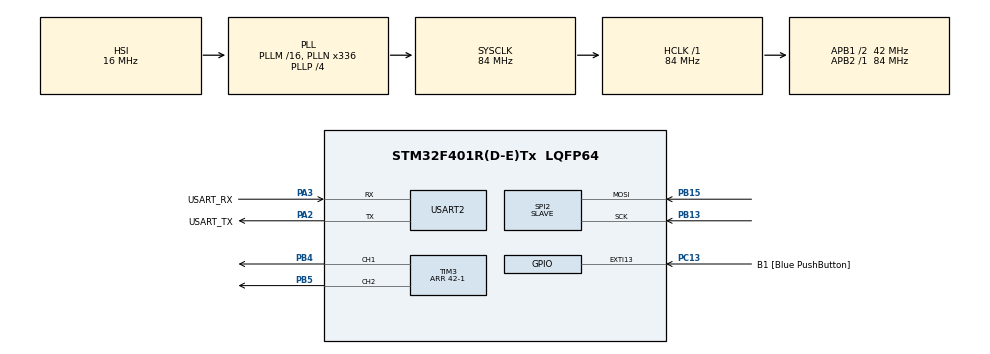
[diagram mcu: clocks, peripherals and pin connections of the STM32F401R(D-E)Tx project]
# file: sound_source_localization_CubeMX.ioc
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Dma.Request0=SPI2_RX
Dma.SPI2_RX.0.Direction=DMA_PERIPH_TO_MEMORY
Dma.SPI2_RX.0.FIFOMode=DMA_FIFOMODE_DISABLE
Dma.SPI2_RX.0.Instance=DMA1_Stream3
Dma.SPI2_RX.0.MemDataAlignment=DMA_MDATAALIGN_BYTE
Dma.SPI2_RX.0.MemInc=DMA_MINC_ENABLE
Dma.SPI2_RX.0.Mode=DMA_CIRCULAR
Dma.SPI2_RX.0.PeriphDataAlignment=DMA_PDATAALIGN_BYTE
Dma.SPI2_RX.0.PeriphInc=DMA_PINC_DISABLE
Dma.SPI2_RX.0.Priority=DMA_PRIORITY_VERY_HIGH
Mcu.Family=STM32F4
Mcu.Name=STM32F401R(D-E)Tx
Mcu.Package=LQFP64
NVIC.DMA1_Stream3_IRQn=true\:0\:0\:false\:false\:true\:false\:true\:true
NVIC.EXTI15_10_IRQn=true\:0\:0\:false\:false\:true\:true\:true\:true
NVIC.PriorityGroup=NVIC_PRIORITYGROUP_0
PA13.GPIO_Label=TMS
PA13.Mode=Serial_Wire
PA13.Signal=SYS_JTMS-SWDIO
PA14.GPIO_Label=TCK
PA14.Mode=Serial_Wire
PA14.Signal=SYS_JTCK-SWCLK
PA2.GPIO_Label=USART_TX
PA2.GPIO_Mode=GPIO_MODE_AF_PP
PA2.GPIO_PuPd=GPIO_NOPULL
PA2.GPIO_Speed=GPIO_SPEED_FREQ_LOW
PA2.Mode=Asynchronous
PA2.Signal=USART2_TX
PA3.GPIO_Label=USART_RX
PA3.GPIO_Mode=GPIO_MODE_AF_PP
PA3.GPIO_PuPd=GPIO_NOPULL
PA3.GPIO_Speed=GPIO_SPEED_FREQ_LOW
PA3.Mode=Asynchronous
PA3.Signal=USART2_RX
PB13.Mode=RX_Only_Simplex_Unidirect_Slave
PB13.Signal=SPI2_SCK
PB15.Mode=RX_Only_Simplex_Unidirect_Slave
PB15.Signal=SPI2_MOSI
PB3.GPIO_Label=SWO
PB3.Signal=SYS_JTDO-SWO
PB4.Signal=S_TIM3_CH1
PB5.Signal=S_TIM3_CH2
PC13-ANTI_TAMP.GPIO_Label=B1 [Blue PushButton]
PC13-ANTI_TAMP.GPIO_ModeDefaultEXTI=GPIO_MODE_IT_FALLING
PC13-ANTI_TAMP.GPIO_PuPd=GPIO_NOPULL
PC13-ANTI_TAMP.Signal=GPXTI13
PC14-OSC32_IN.Mode=LSE-External-Oscillator
PC14-OSC32_IN.Signal=RCC_OSC32_IN
PC15-OSC32_OUT.Mode=LSE-External-Oscillator
PC15-OSC32_OUT.Signal=RCC_OSC32_OUT
PH0\ -\ OSC_IN.Mode=HSE-External-Clock-Source
PH0\ -\ OSC_IN.Signal=RCC_OSC_IN
PH1\ -\ OSC_OUT.Mode=HSE-External-Clock-Source
PH1\ -\ OSC_OUT.Signal=RCC_OSC_OUT
ProjectManager.HeapSize=0x200
ProjectManager.StackSize=0x400
ProjectManager.TargetToolchain=Makefile
RCC.48MHZClocksFreq_Value=48000000
RCC.AHBFreq_Value=84000000
RCC.APB1CLKDivider=RCC_HCLK_DIV2
RCC.APB1Freq_Value=42000000
RCC.APB1TimFreq_Value=84000000
RCC.APB2Freq_Value=84000000
RCC.APB2TimFreq_Value=84000000
RCC.CortexFreq_Value=84000000
RCC.HCLKFreq_Value=84000000
RCC.HSE_VALUE=8000000
RCC.HSI_VALUE=16000000
RCC.PLLN=336
RCC.PLLP=RCC_PLLP_DIV4
RCC.PLLQ=7
RCC.SYSCLKFreq_VALUE=84000000
RCC.SYSCLKSource=RCC_SYSCLKSOURCE_PLLCLK
RCC.VCOOutputFreq_Value=336000000
SH.S_TIM3_CH1.0=TIM3_CH1,PWM Generation1 CH1
SH.S_TIM3_CH2.0=TIM3_CH2,Output Compare2 CH2
SPI2.CLKPhase=SPI_PHASE_2EDGE
SPI2.DataSize=SPI_DATASIZE_8BIT
SPI2.Direction=SPI_DIRECTION_2LINES_RXONLY
SPI2.FirstBit=SPI_FIRSTBIT_MSB
SPI2.Mode=SPI_MODE_SLAVE
SPI2.VirtualType=VM_SLAVE
TIM3.Channel-Output\ Compare2\ CH2=TIM_CHANNEL_2
TIM3.Channel-PWM\ Generation1\ CH1=TIM_CHANNEL_1
TIM3.OCMode_2=TIM_OCMODE_TOGGLE
TIM3.Period=42-1
TIM3.Pulse-Output\ Compare2\ CH2=42-1
TIM3.Pulse-PWM\ Generation1\ CH1=21
USART2.VirtualMode=VM_ASYNC
VP_TIM3_VS_ClockSourceINT.Mode=Internal
board=NUCLEO-F401RE

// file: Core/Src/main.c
/* USER CODE BEGIN Header */
/**
  ******************************************************************************
  * @file           : main.c
  * @brief          : Main program body
  ******************************************************************************
  * @attention
  *
  * Copyright (c) 2022 STMicroelectronics.
  * All rights reserved.
  *
  * This software is licensed under terms that can be found in the LICENSE file
  * in the root directory of this software component.
  * If no LICENSE file comes with this software, it is provided AS-IS.
  *
  ******************************************************************************
  */
/* USER CODE END Header */
#include "main.h"

/* USER CODE BEGIN Includes */
#include <stdio.h>
#include <string.h>
#include <stdlib.h>
#include <math.h>
/* USER CODE END Includes */

/* USER CODE BEGIN PD */

// SPI buffer size
#define SPI_BUFFER_SIZE 128

// FIR filter taps
#define NUM_TAPS 225

// Decimation factor
#define DECIMATION_FACTOR 8

/* USER CODE END PD */

SPI_HandleTypeDef hspi2;
DMA_HandleTypeDef hdma_spi2_rx;

TIM_HandleTypeDef htim3;

UART_HandleTypeDef huart2;

/* USER CODE BEGIN PV */
/* Private variables ---------------------------------------------------------*/

// flag to indicate DMA transfer is complete
uint8_t SPI2_DMA_RX_Complete = 0;

// SPI buffer
uint8_t SPI_Buffer[SPI_BUFFER_SIZE] = {0};

// left and right buffers for each mic
uint8_t left_buffer[SPI_BUFFER_SIZE*4] = {0};
uint8_t right_buffer[SPI_BUFFER_SIZE*4] = {0};

// previous buffers values for FIR filter
int8_t left_buffer_prev[NUM_TAPS] = {0};
int8_t right_buffer_prev[NUM_TAPS] = {0};

// left and right buffers for each mic after filtering
float left_buffer_filtered[SPI_BUFFER_SIZE*4/DECIMATION_FACTOR];
float right_buffer_filtered[SPI_BUFFER_SIZE*4/DECIMATION_FACTOR];

// finger snap flag
uint8_t finger_snap_flag = 0;

/*
FIR filter designed with
http://t-filter.appspot.com

sampling frequency: 1000000 Hz

* 0 Hz - 8000 Hz
  gain = 1
  desired ripple = 1 dB
  actual ripple = 0.7299864365934536 dB

* 15625 Hz - 500000 Hz
  gain = 0
  desired attenuation = -40 dB
  actual attenuation = -40.258113782444845 dB

* NUM_TAPS = 225

*/

// INT8 FIR filter coefficients
/*
static uint8_t fir_coeff[NUM_TAPS] ={
  1,
  0,
  0,
  0,
  0,
  0,
  0,
  0,
  0,
  0,
  0,
  0,
  0,
  0,
  0,
  0,
  0,
  0,
  0,
  0,
  0,
  0,
  0,
  0,
  0,
  0,
  0,
  0,
  0,
  0,
  0,
  0,
  0,
  0,
  0,
  0,
  0,
  0,
  0,
  0,
  0,
  0,
  0,
  0,
  0,
  0,
  0,
  0,
  0,
  0,
  0,
  0,
  0,
  0,
  0,
  0,
  0,
  0,
  0,
  0,
  0,
  0,
  0,
  0,
  0,
  0,
  0,
  0,
  0,
  0,
  0,
  0,
  0,
  0,
  0,
  0,
  1,
  1,
  1,
  1,
  1,
  1,
  1,
  1,
  1,
  1,
  1,
  2,
  2,
  2,
  2,
  2,
  2,
  2,
  2,
  2,
  2,
  2,
  2,
  2,
  3,
  3,
  3,
  3,
  3,
  3,
  3,
  3,
  3,
  3,
  3,
  3,
  3,
  3,
  3,
  3,
  3,
  3,
  3,
  3,
  3,
  3,
  3,
  3,
  3,
  2,
  2,
  2,
  2,
  2,
  2,
  2,
  2,
  2,
  2,
  2,
  2,
  2,
  1,
  1,
  1,
  1,
  1,
  1,
  1,
  1,
  1,
  1,
  1,
  0,
  0,
  0,
  0,
  0,
  0,
  0,
  0,
  0,
  0,
  0,
  0,
  0,
  0,
  0,
  0,
  0,
  0,
  0,
  0,
  0,
  0,
  0,
  0,
  0,
  0,
  0,
  0,
  0,
  0,
  0,
  0,
  0,
  0,
  0,
  0,
  0,
  0,
  0,
  0,
  0,
  0,
  0,
  0,
  0,
  0,
  0,
  0,
  0,
  0,
  0,
  0,
  0,
  0,
  0,
  0,
  0,
  0,
  0,
  0,
  0,
  0,
  0,
  0,
  0,
  0,
  0,
  0,
  0,
  0,
  0,
  0,
  0,
  0,
  0,
  1
};
*/

// FLOAT FIR filter coefficients
static float fir_coeff[NUM_TAPS] = {
  0.005142840545276502,
  0.0005776119551103716,
  0.000603452635046104,
  0.0006258476939145514,
  0.0006434920183790002,
  0.0006568929308390448,
  0.0006652564505335804,
  0.0006678248280790667,
  0.00066467267376079,
  0.000655418362176927,
  0.0006394151288354629,
  0.00061641561843551,
  0.0005861893330172126,
  0.00054845108388333,
  0.0005030552758477393,
  0.0004497791706022509,
  0.00038837043045260365,
  0.0003187765940718276,
  0.00024099784089950783,
  0.00015498800550232237,
  0.000060778686176569876,
  -0.000041526854903904153,
  -0.00015177231816138268,
  -0.00026966421681820296,
  -0.0003948238278051311,
  -0.0005268935517652757,
  -0.0006654632374119981,
  -0.0008100272079632247,
  -0.0009600902246855826,
  -0.0011151062071835987,
  -0.0012743503438861145,
  -0.0014370203343255534,
  -0.0016022305922854731,
  -0.0017689590087946387,
  -0.001936352230518814,
  -0.002103685910167141,
  -0.0022699031624359507,
  -0.0024338297997767207,
  -0.0025943247232153126,
  -0.002749916347432099,
  -0.0028996072059222244,
  -0.0030430446211033493,
  -0.003178243182587049,
  -0.0033026617863639706,
  -0.0034178085358503208,
  -0.003520610576806379,
  -0.0036082671781069997,
  -0.003685179926599956,
  -0.003743320048133456,
  -0.0037841808549810047,
  -0.0038080482645113795,
  -0.0038127117750296428,
  -0.003796502219907655,
  -0.0037583913764318564,
  -0.003697341860647573,
  -0.003612766494578202,
  -0.003504156555145221,
  -0.003370606058748487,
  -0.003211262944679431,
  -0.003025498343914041,
  -0.002812738174919532,
  -0.0025726043879186287,
  -0.002304908017112659,
  -0.0020094887743440904,
  -0.0016863076105492604,
  -0.0013354739085991217,
  -0.0009571054035656962,
  -0.0005513740269179282,
  -0.00011862385688208173,
  0.00034066356291987456,
  0.0008258712118125614,
  0.0013361824206220298,
  0.0018706447174870902,
  0.0024281909856145533,
  0.003007509949736543,
  0.0036071382165185273,
  0.00422565035611871,
  0.00486154042060089,
  0.005513228114057391,
  0.006179229273900601,
  0.006857927133896979,
  0.007547593532307397,
  0.008246688404210124,
  0.008953181817299916,
  0.009664187961002695,
  0.010376918340606679,
  0.011088378301638464,
  0.011795523510462931,
  0.012499661516296631,
  0.013208885785526675,
  0.013892862180754598,
  0.014573780076006244,
  0.015240311165693975,
  0.01589026498111119,
  0.016522995668809933,
  0.01713563028038285,
  0.017725547130625265,
  0.018291357659988922,
  0.0188311394030313,
  0.01934264073399854,
  0.019824066263244372,
  0.02027369126297506,
  0.020689868419807533,
  0.021071224499483145,
  0.021416336732246948,
  0.02172378689933182,
  0.02199247250250785,
  0.022221490677728963,
  0.02241003470473071,
  0.022557465848915766,
  0.02266323405683669,
  0.022726863243144692,
  0.022748092902815847,
  0.022726863243144692,
  0.02266323405683669,
  0.022557465848915766,
  0.02241003470473071,
  0.022221490677728963,
  0.02199247250250785,
  0.02172378689933182,
  0.021416336732246948,
  0.021071224499483145,
  0.020689868419807533,
  0.02027369126297506,
  0.019824066263244372,
  0.01934264073399854,
  0.0188311394030313,
  0.018291357659988922,
  0.017725547130625265,
  0.01713563028038285,
  0.016522995668809933,
  0.01589026498111119,
  0.015240311165693975,
  0.014573780076006244,
  0.013892862180754598,
  0.013208885785526675,
  0.012499661516296631,
  0.011795523510462931,
  0.011088378301638464,
  0.010376918340606679,
  0.009664187961002695,
  0.008953181817299916,
  0.008246688404210124,
  0.007547593532307397,
  0.006857927133896979,
  0.006179229273900601,
  0.005513228114057391,
  0.00486154042060089,
  0.00422565035611871,
  0.0036071382165185273,
  0.003007509949736543,
  0.0024281909856145533,
  0.0018706447174870902,
  0.0013361824206220298,
  0.0008258712118125614,
  0.00034066356291987456,
  -0.00011862385688208173,
  -0.0005513740269179282,
  -0.0009571054035656962,
  -0.0013354739085991217,
  -0.0016863076105492604,
  -0.0020094887743440904,
  -0.002304908017112659,
  -0.0025726043879186287,
  -0.002812738174919532,
  -0.003025498343914041,
  -0.003211262944679431,
  -0.003370606058748487,
  -0.003504156555145221,
  -0.003612766494578202,
  -0.003697341860647573,
  -0.0037583913764318564,
  -0.003796502219907655,
  -0.0038127117750296428,
  -0.0038080482645113795,
  -0.0037841808549810047,
  -0.003743320048133456,
  -0.003685179926599956,
  -0.0036082671781069997,
  -0.003520610576806379,
  -0.0034178085358503208,
  -0.0033026617863639706,
  -0.003178243182587049,
  -0.0030430446211033493,
  -0.0028996072059222244,
  -0.002749916347432099,
  -0.0025943247232153126,
  -0.0024338297997767207,
  -0.0022699031624359507,
  -0.002103685910167141,
  -0.001936352230518814,
  -0.0017689590087946387,
  -0.0016022305922854731,
  -0.0014370203343255534,
  -0.0012743503438861145,
  -0.0011151062071835987,
  -0.0009600902246855826,
  -0.0008100272079632247,
  -0.0006654632374119981,
  -0.0005268935517652757,
  -0.0003948238278051311,
  -0.00026966421681820296,
  -0.00015177231816138268,
  -0.000041526854903904153,
  0.000060778686176569876,
  0.00015498800550232237,
  0.00024099784089950783,
  0.0003187765940718276,
  0.00038837043045260365,
  0.0004497791706022509,
  0.0005030552758477393,
  0.00054845108388333,
  0.0005861893330172126,
  0.00061641561843551,
  0.0006394151288354629,
  0.000655418362176927,
  0.00066467267376079,
  0.0006678248280790667,
  0.0006652564505335804,
  0.0006568929308390448,
  0.0006434920183790002,
  0.0006258476939145514,
  0.000603452635046104,
  0.0005776119551103716,
  0.005142840545276502
};

/* USER CODE END PV */

void SystemClock_Config(void);
static void MX_GPIO_Init(void);
static void MX_DMA_Init(void);
static void MX_USART2_UART_Init(void);
static void MX_SPI2_Init(void);
static void MX_TIM3_Init(void);
/* USER CODE BEGIN PFP */
void BuffersInit(uint8_t *left, uint8_t *right, int size);
void ConvertToBit(uint8_t *buffer, uint8_t *left, uint8_t *right, int size);
void LowPassFilterWithDecimation(uint8_t *left, uint8_t *right, float *left_filtered, float *right_filtered, int size, int decimation_factor);
void SoundLocalization(float *left, float *right, int size);
/* USER CODE END PFP */

/* USER CODE BEGIN 0 */

/**
  * @brief  Rx complete callback in DMA mode
  * @param  None
  * @retval None
  */
void SPI2_DMA_RX_Complete_Callback() {
  // set flag to indicate DMA transfer is complete
  SPI2_DMA_RX_Complete = 1;
}

/**
  * @brief  Initialize buffers
  * @param  left pointer to left buffer
  * @param  right pointer to right buffer
  * @param  size size of buffer
  * @retval None
  */
void BuffersInit(uint8_t *left, uint8_t *right, int size){
  // initialize buffers
  for(uint16_t i = 0; i < size; i++){
    // initialize raw microphones buffers
    left[i] = 0;
    right[i] = 0;
  }
}

/**
  * @brief  EXTI line detection callbacks.
  * @param  GPIO_Pin Specifies the pins connected EXTI line
  * @retval None
  */
void HAL_GPIO_EXTI_Callback(uint16_t GPIO_Pin){
  // reset the snap flag when the button is pressed
  if(GPIO_Pin == GPIO_PIN_13){
    finger_snap_flag = 0;
  }
}

/**
  * @brief  Convert SPI buffer to bit the original bit stream (PDM signal) and deinterleave data into left and right buffers
  * @param  buffer pointer to SPI buffer
  * @param  left pointer to left buffer
  * @param  right pointer to right buffer
  * @retval None
  */
void ConvertToBit(uint8_t *buffer, uint8_t *left, uint8_t *right, int size){
  uint8_t num, bin;
  uint16_t k;

  // 1. convert to binary
  // 2. deinterleave data into left mic and right mic buffers
  for(uint16_t i = 0; i < size; i++){
    // get number from SPI buffer
    num = buffer[i];

    // convert to binary and deinterleave data
    for(uint8_t j = 0; j < 8; j++){
      // convert to binary
      bin = num & 1;
      num = num >> 1;

      // position of binary data in buffer
      // first bit is at position 0
      k = i*4 + 3 - j/2;

      // deinterleave data and store in left and right buffers
      if(j % 2 == 0){
        left[k] = bin;
      } else {
        right[k] = bin;
      }
    }
  }
}

/**
  * @brief  Low pass filter with decimation, this function can be modified to work with
  *         integers coefficients instead of floats
  * @param  left pointer to left buffer
  * @param  right pointer to right buffer
  * @param  left_filtered pointer to left filtered buffer
  * @param  right_filtered pointer to right filtered buffer
  * @param  size size of left and right buffers
  * @param  decimation_factor decimation factor
  * @retval None
  */
void LowPassFilterWithDecimation(uint8_t *left, uint8_t *right, float *left_filtered, float *right_filtered, int size, int decimation_factor){
  //char str[100];
  //int16_t x1, x2;

  // initialize buffers
  for(uint16_t i = 0; i < size/decimation_factor; i++){
    // initialize raw microphones buffers
    left_filtered[i] = 0;
    right_filtered[i] = 0;
  }

  for(uint16_t i = 0; i < size; i ++){

    // shift buffer
    for(uint16_t j = NUM_TAPS - 1; j > 0; j--){
      left_buffer_prev[j] = left_buffer_prev[j - 1];
      right_buffer_prev[j] = right_buffer_prev[j - 1];
    }

    // move input to sample buffer
    left_buffer_prev[0] = left[i];
    right_buffer_prev[0] = right[i];

    // calculate FIR filter only for decimated values
    if(i % decimation_factor == 0){
      for(uint16_t j = 0; j < NUM_TAPS; j++){
        left_filtered[i/decimation_factor] += left_buffer_prev[j] * fir_coeff[j];
        right_filtered[i/decimation_factor] += right_buffer_prev[j] * fir_coeff[j];
      }

      // scale to -127 to 128
      left_filtered[i/decimation_factor] = left_filtered[i/decimation_factor] * 255.f - 128.f;
      right_filtered[i/decimation_factor] = right_filtered[i/decimation_factor] * 255.f - 128.f;

      if(left_filtered[i/decimation_factor] > 127.f){
        left_filtered[i/decimation_factor] = 127.f;
      } else if(left_filtered[i/decimation_factor] < -128.f){
        left_filtered[i/decimation_factor] = -128.f;
      }

      if(right_filtered[i/decimation_factor] > 127.f){
        right_filtered[i/decimation_factor] = 127.f;
      } else if(right_filtered[i/decimation_factor] < -128.f){
        right_filtered[i/decimation_factor] = -128.f;
      }

      //x1 = round(left_filtered[i/decimation_factor]);
      //x2 = round(right_filtered[i/decimation_factor]);

      //check if finger snap is detected with a threshold
      if(right_buffer_filtered[i/decimation_factor] > 7 && left_buffer_filtered[i/decimation_factor] > 7 && finger_snap_flag == 0){
        HAL_UART_Transmit(&huart2, (uint8_t *)"snap\n\r", 6, 10);
        finger_snap_flag = 1;
      }

      // send data to PC and print them with serialoscilloscope
      //sprintf(str, "%d,%d\r\n", x1, x2);
      //HAL_UART_Transmit(&huart2, (uint8_t *)str, strlen(str), 10);

    }
  }
}

/**
  * @brief  Sound localization algorithm using cross correlation
  * @param  left pointer to left buffer
  * @param  right pointer to right buffer
  * @param  size size of left and right buffers
  * @retval None
  */
void SoundLocalization(float *left, float *right, int size){
  //float max_left = 0, max_right = 0;
  float result[2*size];
  float max = 0;
  uint8_t idx = 0;
  uint16_t idx_left = 0, idx_right = 0;
  uint8_t flag_left = 0, flag_right = 0;
  uint16_t slope_left, slope_right;

  if(finger_snap_flag == 1){

    // check if the current value has a magnitude higher than the previous one
    for(uint16_t i = 0; i < size; i++){
      // check left buffer for max value and index of max value
      if(left[i] - left[i - 1] > 5 && flag_left == 0){
        idx_left = i - 1;
        flag_left = 1;
      }
      // check right buffer for max value and index of max value
      if(right[i] - right[i - 1] > 5 && flag_right == 0){
        idx_right = i - 1;
        flag_right = 1;
      }
    }

    // check which index is lower and send the corresponding message
    if(idx_left < idx_right){
      HAL_UART_Transmit(&huart2, (uint8_t *)"left\r\n", 6, 10);
    } else if(idx_left > idx_right){
      HAL_UART_Transmit(&huart2, (uint8_t *)"right\r\n", 7, 10);
    }

    /*
    //Cross Correlation Algorithm
    // initialize result buffer
    for(uint16_t i = 0; i < 2*size - 1; i++){
      result[i] = 0;
    }

    // perform cross correlation
    for(uint16_t i = 0; i < size; i++){
      for(uint16_t j = 0; j < size; j++){
        result[i + j] += left[i] * right[j];
      }
    }

    // find max value
    for(uint16_t i = 0; i < 2*size - 1; i++){
      if(result[i] > max){
        max = result[i];
        idx = i;
      }
    }

    // find phase shift
    if(idx < size){
      HAL_UART_Transmit(&huart2, (uint8_t *)"left\r\n", 6, 10);
    } else if(idx > size){
      HAL_UART_Transmit(&huart2, (uint8_t *)"right\r\n", 7, 10);
    }
    */

    finger_snap_flag = -1;
  }
}

/* USER CODE END 0 */

int main(void)
{

  /* MCU Configuration--------------------------------------------------------*/

  /* Reset of all peripherals, Initializes the Flash interface and the Systick. */
  HAL_Init();

  /* Configure the system clock */
  SystemClock_Config();

  /* Initialize all configured peripherals */
  MX_GPIO_Init();
  MX_DMA_Init();
  MX_USART2_UART_Init();
  MX_SPI2_Init();
  MX_TIM3_Init();
  /* USER CODE BEGIN 2 */
  // start MIC_CLOCKx2 (PB4)
  HAL_TIM_OC_Start(&htim3, TIM_CHANNEL_1);
  // start MIC_CLOCK_NUCLEO (PB5)
  HAL_TIM_PWM_Start(&htim3, TIM_CHANNEL_2);

  HAL_Delay(500);
  // start SPI in DMA mode
  HAL_SPI_Receive_DMA(&hspi2, (uint8_t*)SPI_Buffer, SPI_BUFFER_SIZE);

  /* USER CODE END 2 */

  /* Infinite loop */
  /* USER CODE BEGIN WHILE */

  while (1)
  {

    // check if DMA receive is complete
    if(SPI2_DMA_RX_Complete){
      // reset flag
      SPI2_DMA_RX_Complete = 0;

      // convert data from SPI buffer to binary stream
      // deinterleave data into left and right buffers
      ConvertToBit(SPI_Buffer, left_buffer, right_buffer, SPI_BUFFER_SIZE);

      // FIR filter with decimation
      LowPassFilterWithDecimation(left_buffer, right_buffer, left_buffer_filtered, right_buffer_filtered, SPI_BUFFER_SIZE*4, DECIMATION_FACTOR);

      // sound localization
      //SoundLocalization(left_buffer_filtered, right_buffer_filtered, SPI_BUFFER_SIZE*4/DECIMATION_FACTOR);

      // re-initialize buffers
      BuffersInit(left_buffer, right_buffer, SPI_BUFFER_SIZE*4);

      // start new SPI transfer (no need in circular mode)
      // only used for debugging
      //HAL_SPI_Receive_DMA(&hspi2, (uint8_t*)SPI_Buffer, SPI_BUFFER_SIZE);
    }

    /* USER CODE END WHILE */

  }
}

void SystemClock_Config(void)
{
  RCC_OscInitTypeDef RCC_OscInitStruct = {0};
  RCC_ClkInitTypeDef RCC_ClkInitStruct = {0};

  /** Configure the main internal regulator output voltage
  */
  __HAL_RCC_PWR_CLK_ENABLE();
  __HAL_PWR_VOLTAGESCALING_CONFIG(PWR_REGULATOR_VOLTAGE_SCALE2);

  /** Initializes the RCC Oscillators according to the specified parameters
  * in the RCC_OscInitTypeDef structure.
  */
  RCC_OscInitStruct.OscillatorType = RCC_OSCILLATORTYPE_HSI;
  RCC_OscInitStruct.HSIState = RCC_HSI_ON;
  RCC_OscInitStruct.HSICalibrationValue = RCC_HSICALIBRATION_DEFAULT;
  RCC_OscInitStruct.PLL.PLLState = RCC_PLL_ON;
  RCC_OscInitStruct.PLL.PLLSource = RCC_PLLSOURCE_HSI;
  RCC_OscInitStruct.PLL.PLLM = 16;
  RCC_OscInitStruct.PLL.PLLN = 336;
  RCC_OscInitStruct.PLL.PLLP = RCC_PLLP_DIV4;
  RCC_OscInitStruct.PLL.PLLQ = 7;
  if (HAL_RCC_OscConfig(&RCC_OscInitStruct) != HAL_OK)
  {
    Error_Handler();
  }

  /** Initializes the CPU, AHB and APB buses clocks
  */
  RCC_ClkInitStruct.ClockType = RCC_CLOCKTYPE_HCLK|RCC_CLOCKTYPE_SYSCLK
                              |RCC_CLOCKTYPE_PCLK1|RCC_CLOCKTYPE_PCLK2;
  RCC_ClkInitStruct.SYSCLKSource = RCC_SYSCLKSOURCE_PLLCLK;
  RCC_ClkInitStruct.AHBCLKDivider = RCC_SYSCLK_DIV1;
  RCC_ClkInitStruct.APB1CLKDivider = RCC_HCLK_DIV2;
  RCC_ClkInitStruct.APB2CLKDivider = RCC_HCLK_DIV1;

  if (HAL_RCC_ClockConfig(&RCC_ClkInitStruct, FLASH_LATENCY_2) != HAL_OK)
  {
    Error_Handler();
  }
}

static void MX_SPI2_Init(void)
{

  /* SPI2 parameter configuration*/
  hspi2.Instance = SPI2;
  hspi2.Init.Mode = SPI_MODE_SLAVE;
  hspi2.Init.Direction = SPI_DIRECTION_2LINES_RXONLY;
  hspi2.Init.DataSize = SPI_DATASIZE_8BIT;
  hspi2.Init.CLKPolarity = SPI_POLARITY_LOW;
  hspi2.Init.CLKPhase = SPI_PHASE_2EDGE;
  hspi2.Init.NSS = SPI_NSS_SOFT;
  hspi2.Init.FirstBit = SPI_FIRSTBIT_MSB;
  hspi2.Init.TIMode = SPI_TIMODE_DISABLE;
  hspi2.Init.CRCCalculation = SPI_CRCCALCULATION_DISABLE;
  hspi2.Init.CRCPolynomial = 10;
  if (HAL_SPI_Init(&hspi2) != HAL_OK)
  {
    Error_Handler();
  }

}

static void MX_TIM3_Init(void)
{

  TIM_ClockConfigTypeDef sClockSourceConfig = {0};
  TIM_MasterConfigTypeDef sMasterConfig = {0};
  TIM_OC_InitTypeDef sConfigOC = {0};

  htim3.Instance = TIM3;
  htim3.Init.Prescaler = 0;
  htim3.Init.CounterMode = TIM_COUNTERMODE_UP;
  htim3.Init.Period = 42-1;
  htim3.Init.ClockDivision = TIM_CLOCKDIVISION_DIV1;
  htim3.Init.AutoReloadPreload = TIM_AUTORELOAD_PRELOAD_DISABLE;
  if (HAL_TIM_Base_Init(&htim3) != HAL_OK)
  {
    Error_Handler();
  }
  sClockSourceConfig.ClockSource = TIM_CLOCKSOURCE_INTERNAL;
  if (HAL_TIM_ConfigClockSource(&htim3, &sClockSourceConfig) != HAL_OK)
  {
    Error_Handler();
  }
  if (HAL_TIM_PWM_Init(&htim3) != HAL_OK)
  {
    Error_Handler();
  }
  if (HAL_TIM_OC_Init(&htim3) != HAL_OK)
  {
    Error_Handler();
  }
  sMasterConfig.MasterOutputTrigger = TIM_TRGO_RESET;
  sMasterConfig.MasterSlaveMode = TIM_MASTERSLAVEMODE_DISABLE;
  if (HAL_TIMEx_MasterConfigSynchronization(&htim3, &sMasterConfig) != HAL_OK)
  {
    Error_Handler();
  }
  sConfigOC.OCMode = TIM_OCMODE_PWM1;
  sConfigOC.Pulse = 21;
  sConfigOC.OCPolarity = TIM_OCPOLARITY_HIGH;
  sConfigOC.OCFastMode = TIM_OCFAST_DISABLE;
  if (HAL_TIM_PWM_ConfigChannel(&htim3, &sConfigOC, TIM_CHANNEL_1) != HAL_OK)
  {
    Error_Handler();
  }
  sConfigOC.OCMode = TIM_OCMODE_TOGGLE;
  sConfigOC.Pulse = 42-1;
  if (HAL_TIM_OC_ConfigChannel(&htim3, &sConfigOC, TIM_CHANNEL_2) != HAL_OK)
  {
    Error_Handler();
  }
  HAL_TIM_MspPostInit(&htim3);

}

static void MX_USART2_UART_Init(void)
{

  huart2.Instance = USART2;
  huart2.Init.BaudRate = 115200;
  huart2.Init.WordLength = UART_WORDLENGTH_8B;
  huart2.Init.StopBits = UART_STOPBITS_1;
  huart2.Init.Parity = UART_PARITY_NONE;
  huart2.Init.Mode = UART_MODE_TX_RX;
  huart2.Init.HwFlowCtl = UART_HWCONTROL_NONE;
  huart2.Init.OverSampling = UART_OVERSAMPLING_16;
  if (HAL_UART_Init(&huart2) != HAL_OK)
  {
    Error_Handler();
  }

}

static void MX_DMA_Init(void)
{

  /* DMA controller clock enable */
  __HAL_RCC_DMA1_CLK_ENABLE();

  /* DMA interrupt init */
  /* DMA1_Stream3_IRQn interrupt configuration */
  HAL_NVIC_SetPriority(DMA1_Stream3_IRQn, 0, 0);
  HAL_NVIC_EnableIRQ(DMA1_Stream3_IRQn);

}

static void MX_GPIO_Init(void)
{
  GPIO_InitTypeDef GPIO_InitStruct = {0};

  /* GPIO Ports Clock Enable */
  __HAL_RCC_GPIOC_CLK_ENABLE();
  __HAL_RCC_GPIOH_CLK_ENABLE();
  __HAL_RCC_GPIOA_CLK_ENABLE();
  __HAL_RCC_GPIOB_CLK_ENABLE();

  /*Configure GPIO pin : B1_Pin */
  GPIO_InitStruct.Pin = B1_Pin;
  GPIO_InitStruct.Mode = GPIO_MODE_IT_FALLING;
  GPIO_InitStruct.Pull = GPIO_NOPULL;
  HAL_GPIO_Init(B1_GPIO_Port, &GPIO_InitStruct);

  /* EXTI interrupt init*/
  HAL_NVIC_SetPriority(EXTI15_10_IRQn, 0, 0);
  HAL_NVIC_EnableIRQ(EXTI15_10_IRQn);

}

void Error_Handler(void)
{
  __disable_irq();
  while (1)
  {
  }
}
